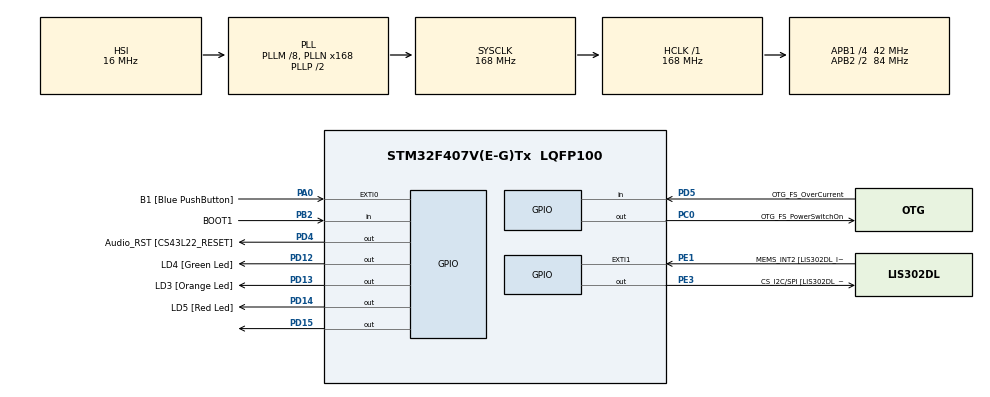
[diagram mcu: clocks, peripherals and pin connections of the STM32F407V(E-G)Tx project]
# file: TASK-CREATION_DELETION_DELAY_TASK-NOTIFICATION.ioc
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Mcu.Family=STM32F4
Mcu.Name=STM32F407V(E-G)Tx
Mcu.Package=LQFP100
NVIC.EXTI0_IRQn=true\:6\:0\:true\:false\:true\:true\:true\:true
NVIC.PriorityGroup=NVIC_PRIORITYGROUP_4
NVIC.TIM6_DAC_IRQn=true\:0\:0\:false\:false\:true\:false\:true\:true
NVIC.TimeBase=TIM6_DAC_IRQn
NVIC.TimeBaseIP=TIM6
PA0-WKUP.GPIO_Label=B1 [Blue PushButton]
PA0-WKUP.Signal=GPXTI0
PA10.GPIO_Label=OTG_FS_ID
PA10.GPIO_Mode=GPIO_MODE_AF_PP
PA10.GPIO_PuPd=GPIO_NOPULL
PA10.GPIO_Speed=GPIO_SPEED_FREQ_LOW
PA10.Signal=USB_OTG_FS_ID
PA11.GPIO_Label=OTG_FS_DM
PA11.GPIO_Mode=GPIO_MODE_AF_PP
PA11.GPIO_PuPd=GPIO_NOPULL
PA11.GPIO_Speed=GPIO_SPEED_FREQ_LOW
PA11.Signal=USB_OTG_FS_DM
PA12.GPIO_Label=OTG_FS_DP
PA12.GPIO_Mode=GPIO_MODE_AF_PP
PA12.GPIO_PuPd=GPIO_NOPULL
PA12.GPIO_Speed=GPIO_SPEED_FREQ_LOW
PA12.Signal=USB_OTG_FS_DP
PA13.GPIO_Label=SWDIO
PA13.Signal=SYS_JTMS-SWDIO
PA14.GPIO_Label=SWCLK
PA14.Signal=SYS_JTCK-SWCLK
PA4.GPIO_Label=I2S3_WS [CS43L22_LRCK]
PA4.GPIO_Mode=GPIO_MODE_AF_PP
PA4.GPIO_PuPd=GPIO_NOPULL
PA4.GPIO_Speed=GPIO_SPEED_FREQ_LOW
PA4.Signal=I2S3_WS
PA5.GPIO_Label=SPI1_SCK [LIS302DL_SCL/SPC]
PA5.GPIO_Mode=GPIO_MODE_AF_PP
PA5.GPIO_PuPd=GPIO_NOPULL
PA5.GPIO_Speed=GPIO_SPEED_FREQ_LOW
PA5.Signal=SPI1_SCK
PA6.GPIO_Label=SPI1_MISO [LIS302DL_SDO]
PA6.GPIO_Mode=GPIO_MODE_AF_PP
PA6.GPIO_PuPd=GPIO_NOPULL
PA6.GPIO_Speed=GPIO_SPEED_FREQ_LOW
PA6.Signal=SPI1_MISO
PA7.GPIO_Label=SPI1_MOSI [LIS302DL_SDA/SDI/SDO]
PA7.GPIO_Mode=GPIO_MODE_AF_PP
PA7.GPIO_PuPd=GPIO_NOPULL
PA7.GPIO_Speed=GPIO_SPEED_FREQ_LOW
PA7.Signal=SPI1_MOSI
PA9.GPIO_Label=VBUS_FS
PA9.GPIO_Mode=GPIO_MODE_INPUT
PA9.GPIO_PuPd=GPIO_NOPULL
PA9.Signal=USB_OTG_FS_VBUS
PB10.GPIO_Label=CLK_IN [MP45DT02_CLK]
PB10.GPIO_Mode=GPIO_MODE_AF_PP
PB10.GPIO_PuPd=GPIO_NOPULL
PB10.GPIO_Speed=GPIO_SPEED_FREQ_LOW
PB10.Signal=I2S2_CK
PB2.GPIO_Label=BOOT1
PB2.GPIO_Mode=GPIO_MODE_INPUT
PB2.GPIO_PuPd=GPIO_NOPULL
PB2.Signal=GPIO_Input
PB3.GPIO_Label=SWO
PB3.Signal=SYS_JTDO-SWO
PB6.GPIO_Label=Audio_SCL [CS43L22_SCL]
PB6.GPIO_Mode=GPIO_MODE_AF_OD
PB6.GPIO_PuPd=GPIO_NOPULL
PB6.GPIO_Speed=GPIO_SPEED_FREQ_LOW
PB6.Signal=I2C1_SCL
PB9.GPIO_Label=Audio_SDA [CS43L22_SDA]
PB9.GPIO_Mode=GPIO_MODE_AF_OD
PB9.GPIO_PuPd=GPIO_NOPULL
PB9.GPIO_Speed=GPIO_SPEED_FREQ_LOW
PB9.Signal=I2C1_SDA
PC0.GPIO_Label=OTG_FS_PowerSwitchOn
PC0.GPIO_PuPd=GPIO_NOPULL
PC0.GPIO_Speed=GPIO_SPEED_FREQ_LOW
PC0.PinState=GPIO_PIN_SET
PC0.Signal=GPIO_Output
PC10.GPIO_Label=I2S3_SCK [CS43L22_SCLK]
PC10.GPIO_Mode=GPIO_MODE_AF_PP
PC10.GPIO_PuPd=GPIO_NOPULL
PC10.GPIO_Speed=GPIO_SPEED_FREQ_LOW
PC10.Signal=I2S3_CK
PC12.GPIO_Label=I2S3_SD [CS43L22_SDIN]
PC12.GPIO_Mode=GPIO_MODE_AF_PP
PC12.GPIO_PuPd=GPIO_NOPULL
PC12.GPIO_Speed=GPIO_SPEED_FREQ_LOW
PC12.Signal=I2S3_SD
PC14-OSC32_IN.GPIO_Label=PC14-OSC32_IN
PC14-OSC32_IN.Signal=RCC_OSC32_IN
PC15-OSC32_OUT.GPIO_Label=PC15-OSC32_OUT
PC15-OSC32_OUT.Signal=RCC_OSC32_OUT
PC3.GPIO_Label=PDM_OUT [MP45DT02_DOUT]
PC3.GPIO_Mode=GPIO_MODE_AF_PP
PC3.GPIO_PuPd=GPIO_NOPULL
PC3.GPIO_Speed=GPIO_SPEED_FREQ_LOW
PC3.Signal=I2S2_SD
PC7.GPIO_Label=I2S3_MCK [CS43L22_MCLK]
PC7.GPIO_Mode=GPIO_MODE_AF_PP
PC7.GPIO_PuPd=GPIO_NOPULL
PC7.GPIO_Speed=GPIO_SPEED_FREQ_LOW
PC7.Signal=I2S3_MCK
PD12.GPIO_Label=LD4 [Green Led]
PD12.GPIO_PuPd=GPIO_NOPULL
PD12.GPIO_Speed=GPIO_SPEED_FREQ_LOW
PD12.Signal=GPIO_Output
PD13.GPIO_Label=LD3 [Orange Led]
PD13.GPIO_PuPd=GPIO_NOPULL
PD13.GPIO_Speed=GPIO_SPEED_FREQ_LOW
PD13.Signal=GPIO_Output
PD14.GPIO_Label=LD5 [Red Led]
PD14.GPIO_PuPd=GPIO_NOPULL
PD14.GPIO_Speed=GPIO_SPEED_FREQ_LOW
PD14.Signal=GPIO_Output
PD15.Signal=GPIO_Output
PD4.GPIO_Label=Audio_RST [CS43L22_RESET]
PD4.GPIO_PuPd=GPIO_NOPULL
PD4.GPIO_Speed=GPIO_SPEED_FREQ_LOW
PD4.Signal=GPIO_Output
PD5.GPIO_Label=OTG_FS_OverCurrent
PD5.GPIO_Mode=GPIO_MODE_INPUT
PD5.GPIO_PuPd=GPIO_NOPULL
PD5.Signal=GPIO_Input
PE1.GPIO_Label=MEMS_INT2 [LIS302DL_INT2]
PE1.GPIO_ModeDefaultEXTI=GPIO_MODE_EVT_RISING
PE1.GPIO_PuPd=GPIO_NOPULL
PE1.Signal=GPXTI1
PE3.GPIO_Label=CS_I2C/SPI [LIS302DL_CS_I2C/SPI]
PE3.GPIO_PuPd=GPIO_NOPULL
PE3.GPIO_Speed=GPIO_SPEED_FREQ_LOW
PE3.Signal=GPIO_Output
PH0-OSC_IN.GPIO_Label=PH0-OSC_IN
PH0-OSC_IN.Signal=RCC_OSC_IN
PH1-OSC_OUT.GPIO_Label=PH1-OSC_OUT
PH1-OSC_OUT.Signal=RCC_OSC_OUT
ProjectManager.HeapSize=0x200
ProjectManager.StackSize=0x400
ProjectManager.TargetToolchain=STM32CubeIDE
RCC.48MHZClocksFreq_Value=48000000
RCC.AHBFreq_Value=168000000
RCC.APB1CLKDivider=RCC_HCLK_DIV4
RCC.APB1Freq_Value=42000000
RCC.APB1TimFreq_Value=84000000
RCC.APB2CLKDivider=RCC_HCLK_DIV2
RCC.APB2Freq_Value=84000000
RCC.APB2TimFreq_Value=168000000
RCC.CortexFreq_Value=168000000
RCC.HCLKFreq_Value=168000000
RCC.HSE_VALUE=8000000
RCC.HSI_VALUE=16000000
RCC.LSE_VALUE=32768
RCC.PLLM=8
RCC.PLLN=168
RCC.PLLQ=7
RCC.SYSCLKFreq_VALUE=168000000
RCC.SYSCLKSource=RCC_SYSCLKSOURCE_PLLCLK
RCC.VCOOutputFreq_Value=336000000
VP_SYS_VS_tim6.Mode=TIM6
board=STM32F407G-DISC1

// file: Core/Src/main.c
/* USER CODE BEGIN Header */
/*
 * Project : Task Creation, Deletion, Delay & Task Notification
 * Board   : STM32F407VG Discovery
 * RTOS    : FreeRTOS (manual integration, heap_4)
 *
 * Demonstrates four core FreeRTOS concepts using onboard LEDs:
 *
 *   1. Task Creation    — Four tasks via xTaskCreate(), each controls one LED.
 *   2. Task Deletion    — Button press triggers chained task deletion
 *                         (Green first, then Red) via vTaskDelete(NULL).
 *   3. Task Delay       — vTaskDelay() vs vTaskDelayUntil() compared side-by-side.
 *   4. Task Notification — ISR-to-task signaling .
 *
 * LED Mapping (GPIOD):
 *   PD12 — Green    PD13 — Orange    PD14 — Red    PD15 — Blue
 *
 * Button:
 *   PA0  — User button (EXTI0, rising edge, ISR priority 6)
 */
/* USER CODE END Header */
#include "main.h"

/* USER CODE BEGIN Includes */
#include "FreeRTOS.h"
#include "task.h"
/* USER CODE END Includes */

/* USER CODE BEGIN PD */
/* Task function prototypes */
static void task1_RED_LED(void *parameters);
static void task2_GREEN_LED(void *parameters);
static void task3_BLUE_LED(void *parameters);
static void task4_ORANGE_LED(void *parameters);
void button_interrupt_handler(void);

/* Task handles — needed to send notifications and manage deletion */
TaskHandle_t task1_RED_LED_handle;
TaskHandle_t task2_GREEN_LED_handle;
TaskHandle_t task3_BLUE_LED_handle;
TaskHandle_t task4_ORANGE_LED_handle;

/*
 * Points to the task that should be deleted on the next button press.
 * Marked volatile because it is shared between task context (critical section)
 * and ISR context — both must always see the latest value.
 *
 * Deletion chain: Green (1st press) -> Red (2nd press) -> NULL (done)
 */
TaskHandle_t volatile task_to_delete_handle = NULL;
BaseType_t status;

/* USER CODE END PD */

void SystemClock_Config(void);
static void MX_GPIO_Init(void);

/* USER CODE BEGIN 0 */

/* FreeRTOS calls this automatically if a task overflows its stack.
 pcTaskName tells you WHICH task caused the overflow.
 The for(;;) hangs the program so you can see it in the debugger. */
void vApplicationStackOverflowHook(TaskHandle_t xTask, char *pcTaskName) {
	(void) xTask; /* Suppress unused variable warning */
	(void) pcTaskName; /* Suppress unused variable warning */
	for (;;)
		; /* Hang here — attach debugger to see which task crashed */
}

/* FreeRTOS calls this automatically when heap memory runs out.
 This happens when xTaskCreate, xQueueCreate, xSemaphoreCreate etc. fail
 because when configTOTAL_HEAP_SIZE is too small.
 The for(;;) hangs the program so you can catch it in the debugger. */
void vApplicationMallocFailedHook(void) {
	for (;;)
		; /* Hang here — debugger will stop at this line */
}

/* ---------------------------------------------------------------------------
 * RED LED (PD14) — Toggles every 1 s.
 *
 * Uses xTaskNotifyWait() with a 1000 ms timeout as a combined
 * "delay + signal check": blinks while no notification arrives,
 * but responds immediately when one does.
 *
 * On notification: turns LED ON permanently and deletes itself.
 * This is the SECOND task in the deletion chain (deleted after Green).
 * ---------------------------------------------------------------------------*/
static void task1_RED_LED(void *parameters)
{
	BaseType_t notify_status;

	while (1)
	{
		HAL_GPIO_TogglePin(GPIOD, GPIO_PIN_14);

		/* Wait up to 1000 ms for a notification.
		   If none arrives, timeout causes next toggle iteration. */
		notify_status = xTaskNotifyWait(0, 0, NULL, pdMS_TO_TICKS(1000));

		if (notify_status == pdTRUE)
		{
			/* Notification received — terminate this task.
			   Critical section protects shared task_to_delete_handle. */
			portENTER_CRITICAL();
			task_to_delete_handle = NULL;          /* End of deletion chain */
			HAL_GPIO_WritePin(GPIOD, GPIO_PIN_14, GPIO_PIN_SET);
			portEXIT_CRITICAL();

			vTaskDelete(NULL);  /* Delete self — does not return */
		}
	}
}

/* ---------------------------------------------------------------------------
 * GREEN LED (PD12) — Toggles every 1 s.
 *
 * Same notification-as-delay pattern as Red task.
 *
 * On notification: hands off to Red (sets it as next deletion target),
 * turns LED ON permanently, and deletes itself.
 * This is the FIRST task in the deletion chain.
 * ---------------------------------------------------------------------------*/
static void task2_GREEN_LED(void *parameters)
{
	BaseType_t notify_status;

	while (1)
	{
		HAL_GPIO_TogglePin(GPIOD, GPIO_PIN_12);

		notify_status = xTaskNotifyWait(0, 0, NULL, pdMS_TO_TICKS(1000));

		if (notify_status == pdTRUE)
		{
			portENTER_CRITICAL();
			task_to_delete_handle = task1_RED_LED_handle;  /* Red is next */
			HAL_GPIO_WritePin(GPIOD, GPIO_PIN_12, GPIO_PIN_SET);
			portEXIT_CRITICAL();

			vTaskDelete(NULL);
		}
	}
}

/* ---------------------------------------------------------------------------
 * BLUE LED (PD15) — Toggles every 1 s using vTaskDelayUntil().
 *
 * vTaskDelayUntil() produces a precise periodic interval by compensating
 * for the task's own execution time:
 *     actual_period = exactly 1000 ms (regardless of execution time)
 *
 * Best suited for fixed-frequency tasks (sensor sampling, control loops).
 * Compare with Orange LED which uses vTaskDelay() (relative delay).
 * ---------------------------------------------------------------------------*/
static void task3_BLUE_LED(void *parameters)
{
	TickType_t last_wake_time;

	/* Capture current tick as reference — all future wakes are absolute offsets */
	last_wake_time = xTaskGetTickCount();

	while (1)
	{
		HAL_GPIO_TogglePin(GPIOD, GPIO_PIN_15);
		vTaskDelayUntil(&last_wake_time, pdMS_TO_TICKS(1000));
	}
}

/* ---------------------------------------------------------------------------
 * ORANGE LED (PD13) — Toggles every 1 s using vTaskDelay().
 *
 * vTaskDelay() blocks for a duration relative to the moment it is called:
 *     actual_period = execution_time + 1000 ms  (slightly drifts over time)
 *
 * Fine for simple indicators; use vTaskDelayUntil() when precision matters.
 * ---------------------------------------------------------------------------*/
static void task4_ORANGE_LED(void *parameters)
{
	while (1)
	{
		HAL_GPIO_TogglePin(GPIOD, GPIO_PIN_13);
		vTaskDelay(pdMS_TO_TICKS(1000));
	}
}

/* ---------------------------------------------------------------------------
 * Button ISR handler — called from HAL_GPIO_EXTI_Callback() on PA0 press.
 *
 * Software debounce: ignores presses within 200 ms of last valid press.
 *
 * Sends a task notification to the next task in the deletion chain.
 * Uses xTaskNotifyFromISR()
 * when only a wake-up signal is needed (no data transfer).
 * ---------------------------------------------------------------------------*/
void button_interrupt_handler(void)
{
	BaseType_t pxHigherPriorityTaskWoken = pdFALSE;

	/* --- Software debounce --- */
	static TickType_t last_press_time = 0;
	TickType_t current_time = xTaskGetTickCountFromISR();

	if ((current_time - last_press_time) < pdMS_TO_TICKS(200))
	{
		return;  /* Bounce — ignore */
	}
	last_press_time = current_time;
	/* --- End debounce --- */

	if (task_to_delete_handle != NULL)
	{
		/* eNoAction = no value transfer, just wake the waiting task */
		xTaskNotifyFromISR(task_to_delete_handle, 0, eNoAction,
				&pxHigherPriorityTaskWoken);

		/* Yield immediately if notified task has higher priority */
		portYIELD_FROM_ISR(pxHigherPriorityTaskWoken);
	}
}

/* USER CODE END 0 */

int main(void) {

	/* MCU Configuration--------------------------------------------------------*/

	/* Reset of all peripherals, Initializes the Flash interface and the Systick. */
	HAL_Init();

	/* Configure the system clock */
	SystemClock_Config();

	/* Initialize all configured peripherals */
	MX_GPIO_Init();
	/* USER CODE BEGIN 2 */

	/*
	 * Create four tasks — all at priority 2 (equal = round-robin scheduling).
	 *  xTaskCreate(function,   name,    stack,   parameter,  priority,  handle);
	 ↑          ↑        ↑           ↑           ↑         ↑
	 what to    debug    how much    data to    who runs   task ID
	 run       name      RAM        pass in     first    (optional)  */

	status = xTaskCreate(task1_RED_LED, "TASK-1", 200, NULL, 2,
			&task1_RED_LED_handle);
	configASSERT(status = pdPASS);

	status = xTaskCreate(task2_GREEN_LED, "TASK-2", 200, NULL, 2,
			&task2_GREEN_LED_handle);
	configASSERT(status = pdPASS);

	/* Green is the first target in the deletion chain */
	task_to_delete_handle = task2_GREEN_LED_handle;

	status = xTaskCreate(task3_BLUE_LED, "TASK-3", 200, NULL, 2,
			&task3_BLUE_LED_handle);
	configASSERT(status = pdPASS);

	status = xTaskCreate(task4_ORANGE_LED, "TASK-4", 200, NULL, 2,
			&task4_ORANGE_LED_handle);
	configASSERT(status = pdPASS);

	//start the freeRTOS scheduler
	vTaskStartScheduler();

	/* USER CODE END 2 */

	/* Infinite loop */
	while (1) {

	}
}

void SystemClock_Config(void) {
	RCC_OscInitTypeDef RCC_OscInitStruct = { 0 };
	RCC_ClkInitTypeDef RCC_ClkInitStruct = { 0 };

	/** Configure the main internal regulator output voltage
	 */
	__HAL_RCC_PWR_CLK_ENABLE();
	__HAL_PWR_VOLTAGESCALING_CONFIG(PWR_REGULATOR_VOLTAGE_SCALE1);

	/** Initializes the RCC Oscillators according to the specified parameters
	 * in the RCC_OscInitTypeDef structure.
	 */
	RCC_OscInitStruct.OscillatorType = RCC_OSCILLATORTYPE_HSI;
	RCC_OscInitStruct.HSIState = RCC_HSI_ON;
	RCC_OscInitStruct.HSICalibrationValue = RCC_HSICALIBRATION_DEFAULT;
	RCC_OscInitStruct.PLL.PLLState = RCC_PLL_ON;
	RCC_OscInitStruct.PLL.PLLSource = RCC_PLLSOURCE_HSI;
	RCC_OscInitStruct.PLL.PLLM = 8;
	RCC_OscInitStruct.PLL.PLLN = 168;
	RCC_OscInitStruct.PLL.PLLP = RCC_PLLP_DIV2;
	RCC_OscInitStruct.PLL.PLLQ = 7;
	if (HAL_RCC_OscConfig(&RCC_OscInitStruct) != HAL_OK) {
		Error_Handler();
	}

	/** Initializes the CPU, AHB and APB buses clocks
	 */
	RCC_ClkInitStruct.ClockType = RCC_CLOCKTYPE_HCLK | RCC_CLOCKTYPE_SYSCLK
			| RCC_CLOCKTYPE_PCLK1 | RCC_CLOCKTYPE_PCLK2;
	RCC_ClkInitStruct.SYSCLKSource = RCC_SYSCLKSOURCE_PLLCLK;
	RCC_ClkInitStruct.AHBCLKDivider = RCC_SYSCLK_DIV1;
	RCC_ClkInitStruct.APB1CLKDivider = RCC_HCLK_DIV4;
	RCC_ClkInitStruct.APB2CLKDivider = RCC_HCLK_DIV2;

	if (HAL_RCC_ClockConfig(&RCC_ClkInitStruct, FLASH_LATENCY_5) != HAL_OK) {
		Error_Handler();
	}
}

static void MX_GPIO_Init(void) {
	GPIO_InitTypeDef GPIO_InitStruct = { 0 };

	/* GPIO Ports Clock Enable */
	__HAL_RCC_GPIOE_CLK_ENABLE();
	__HAL_RCC_GPIOC_CLK_ENABLE();
	__HAL_RCC_GPIOH_CLK_ENABLE();
	__HAL_RCC_GPIOA_CLK_ENABLE();
	__HAL_RCC_GPIOB_CLK_ENABLE();
	__HAL_RCC_GPIOD_CLK_ENABLE();

	/*Configure GPIO pin Output Level */
	HAL_GPIO_WritePin(CS_I2C_SPI_GPIO_Port, CS_I2C_SPI_Pin, GPIO_PIN_RESET);

	/*Configure GPIO pin Output Level */
	HAL_GPIO_WritePin(OTG_FS_PowerSwitchOn_GPIO_Port, OTG_FS_PowerSwitchOn_Pin,
			GPIO_PIN_SET);

	/*Configure GPIO pin Output Level */
	HAL_GPIO_WritePin(GPIOD,
	LD4_Pin | LD3_Pin | LD5_Pin | GPIO_PIN_15 | Audio_RST_Pin, GPIO_PIN_RESET);

	/*Configure GPIO pin : CS_I2C_SPI_Pin */
	GPIO_InitStruct.Pin = CS_I2C_SPI_Pin;
	GPIO_InitStruct.Mode = GPIO_MODE_OUTPUT_PP;
	GPIO_InitStruct.Pull = GPIO_NOPULL;
	GPIO_InitStruct.Speed = GPIO_SPEED_FREQ_LOW;
	HAL_GPIO_Init(CS_I2C_SPI_GPIO_Port, &GPIO_InitStruct);

	/*Configure GPIO pin : OTG_FS_PowerSwitchOn_Pin */
	GPIO_InitStruct.Pin = OTG_FS_PowerSwitchOn_Pin;
	GPIO_InitStruct.Mode = GPIO_MODE_OUTPUT_PP;
	GPIO_InitStruct.Pull = GPIO_NOPULL;
	GPIO_InitStruct.Speed = GPIO_SPEED_FREQ_LOW;
	HAL_GPIO_Init(OTG_FS_PowerSwitchOn_GPIO_Port, &GPIO_InitStruct);

	/*Configure GPIO pin : PDM_OUT_Pin */
	GPIO_InitStruct.Pin = PDM_OUT_Pin;
	GPIO_InitStruct.Mode = GPIO_MODE_AF_PP;
	GPIO_InitStruct.Pull = GPIO_NOPULL;
	GPIO_InitStruct.Speed = GPIO_SPEED_FREQ_LOW;
	GPIO_InitStruct.Alternate = GPIO_AF5_SPI2;
	HAL_GPIO_Init(PDM_OUT_GPIO_Port, &GPIO_InitStruct);

	/*Configure GPIO pin : B1_Pin */
	GPIO_InitStruct.Pin = B1_Pin;
	GPIO_InitStruct.Mode = GPIO_MODE_IT_RISING;
	GPIO_InitStruct.Pull = GPIO_NOPULL;
	HAL_GPIO_Init(B1_GPIO_Port, &GPIO_InitStruct);

	/*Configure GPIO pin : I2S3_WS_Pin */
	GPIO_InitStruct.Pin = I2S3_WS_Pin;
	GPIO_InitStruct.Mode = GPIO_MODE_AF_PP;
	GPIO_InitStruct.Pull = GPIO_NOPULL;
	GPIO_InitStruct.Speed = GPIO_SPEED_FREQ_LOW;
	GPIO_InitStruct.Alternate = GPIO_AF6_SPI3;
	HAL_GPIO_Init(I2S3_WS_GPIO_Port, &GPIO_InitStruct);

	/*Configure GPIO pins : SPI1_SCK_Pin SPI1_MISO_Pin SPI1_MOSI_Pin */
	GPIO_InitStruct.Pin = SPI1_SCK_Pin | SPI1_MISO_Pin | SPI1_MOSI_Pin;
	GPIO_InitStruct.Mode = GPIO_MODE_AF_PP;
	GPIO_InitStruct.Pull = GPIO_NOPULL;
	GPIO_InitStruct.Speed = GPIO_SPEED_FREQ_LOW;
	GPIO_InitStruct.Alternate = GPIO_AF5_SPI1;
	HAL_GPIO_Init(GPIOA, &GPIO_InitStruct);

	/*Configure GPIO pin : BOOT1_Pin */
	GPIO_InitStruct.Pin = BOOT1_Pin;
	GPIO_InitStruct.Mode = GPIO_MODE_INPUT;
	GPIO_InitStruct.Pull = GPIO_NOPULL;
	HAL_GPIO_Init(BOOT1_GPIO_Port, &GPIO_InitStruct);

	/*Configure GPIO pin : CLK_IN_Pin */
	GPIO_InitStruct.Pin = CLK_IN_Pin;
	GPIO_InitStruct.Mode = GPIO_MODE_AF_PP;
	GPIO_InitStruct.Pull = GPIO_NOPULL;
	GPIO_InitStruct.Speed = GPIO_SPEED_FREQ_LOW;
	GPIO_InitStruct.Alternate = GPIO_AF5_SPI2;
	HAL_GPIO_Init(CLK_IN_GPIO_Port, &GPIO_InitStruct);

	/*Configure GPIO pins : LD4_Pin LD3_Pin LD5_Pin PD15
	 Audio_RST_Pin */
	GPIO_InitStruct.Pin = LD4_Pin | LD3_Pin | LD5_Pin | GPIO_PIN_15
			| Audio_RST_Pin;
	GPIO_InitStruct.Mode = GPIO_MODE_OUTPUT_PP;
	GPIO_InitStruct.Pull = GPIO_NOPULL;
	GPIO_InitStruct.Speed = GPIO_SPEED_FREQ_LOW;
	HAL_GPIO_Init(GPIOD, &GPIO_InitStruct);

	/*Configure GPIO pins : I2S3_MCK_Pin I2S3_SCK_Pin I2S3_SD_Pin */
	GPIO_InitStruct.Pin = I2S3_MCK_Pin | I2S3_SCK_Pin | I2S3_SD_Pin;
	GPIO_InitStruct.Mode = GPIO_MODE_AF_PP;
	GPIO_InitStruct.Pull = GPIO_NOPULL;
	GPIO_InitStruct.Speed = GPIO_SPEED_FREQ_LOW;
	GPIO_InitStruct.Alternate = GPIO_AF6_SPI3;
	HAL_GPIO_Init(GPIOC, &GPIO_InitStruct);

	/*Configure GPIO pin : VBUS_FS_Pin */
	GPIO_InitStruct.Pin = VBUS_FS_Pin;
	GPIO_InitStruct.Mode = GPIO_MODE_INPUT;
	GPIO_InitStruct.Pull = GPIO_NOPULL;
	HAL_GPIO_Init(VBUS_FS_GPIO_Port, &GPIO_InitStruct);

	/*Configure GPIO pins : OTG_FS_ID_Pin OTG_FS_DM_Pin OTG_FS_DP_Pin */
	GPIO_InitStruct.Pin = OTG_FS_ID_Pin | OTG_FS_DM_Pin | OTG_FS_DP_Pin;
	GPIO_InitStruct.Mode = GPIO_MODE_AF_PP;
	GPIO_InitStruct.Pull = GPIO_NOPULL;
	GPIO_InitStruct.Speed = GPIO_SPEED_FREQ_LOW;
	GPIO_InitStruct.Alternate = GPIO_AF10_OTG_FS;
	HAL_GPIO_Init(GPIOA, &GPIO_InitStruct);

	/*Configure GPIO pin : OTG_FS_OverCurrent_Pin */
	GPIO_InitStruct.Pin = OTG_FS_OverCurrent_Pin;
	GPIO_InitStruct.Mode = GPIO_MODE_INPUT;
	GPIO_InitStruct.Pull = GPIO_NOPULL;
	HAL_GPIO_Init(OTG_FS_OverCurrent_GPIO_Port, &GPIO_InitStruct);

	/*Configure GPIO pins : Audio_SCL_Pin Audio_SDA_Pin */
	GPIO_InitStruct.Pin = Audio_SCL_Pin | Audio_SDA_Pin;
	GPIO_InitStruct.Mode = GPIO_MODE_AF_OD;
	GPIO_InitStruct.Pull = GPIO_NOPULL;
	GPIO_InitStruct.Speed = GPIO_SPEED_FREQ_LOW;
	GPIO_InitStruct.Alternate = GPIO_AF4_I2C1;
	HAL_GPIO_Init(GPIOB, &GPIO_InitStruct);

	/*Configure GPIO pin : MEMS_INT2_Pin */
	GPIO_InitStruct.Pin = MEMS_INT2_Pin;
	GPIO_InitStruct.Mode = GPIO_MODE_EVT_RISING;
	GPIO_InitStruct.Pull = GPIO_NOPULL;
	HAL_GPIO_Init(MEMS_INT2_GPIO_Port, &GPIO_InitStruct);

	/* EXTI interrupt init*/
	HAL_NVIC_SetPriority(EXTI0_IRQn, 6, 0);
	HAL_NVIC_EnableIRQ(EXTI0_IRQn);

}

void HAL_TIM_PeriodElapsedCallback(TIM_HandleTypeDef *htim) {
	if (htim->Instance == TIM6) {
		HAL_IncTick();
	}
}

void Error_Handler(void) {
	__disable_irq();
	while (1) {
	}
}
